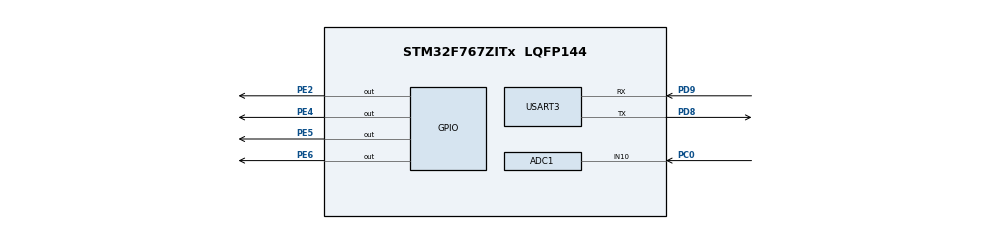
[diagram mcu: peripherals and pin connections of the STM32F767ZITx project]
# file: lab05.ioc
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ADC1.Channel-0\#ChannelRegularConversion=ADC_CHANNEL_10
ADC1.ContinuousConvMode=ENABLE
ADC1.DataAlign=ADC_DATAALIGN_RIGHT
ADC1.EOCSelection=ADC_EOC_SEQ_CONV
ADC1.NbrOfConversionFlag=1
ADC1.Rank-0\#ChannelRegularConversion=1
ADC1.SamplingTime-0\#ChannelRegularConversion=ADC_SAMPLETIME_3CYCLES
ADC1.master=1
CORTEX_M7.default_mode_Activation=1
Mcu.Family=STM32F7
Mcu.Name=STM32F767ZITx
Mcu.Package=LQFP144
NVIC.PriorityGroup=NVIC_PRIORITYGROUP_4
PC0.Signal=ADCx_IN10
PD8.Mode=Asynchronous
PD8.Signal=USART3_TX
PD9.Mode=Asynchronous
PD9.Signal=USART3_RX
PE2.Signal=GPIO_Output
PE4.Signal=GPIO_Output
PE5.Signal=GPIO_Output
PE6.Signal=GPIO_Output
ProjectManager.HeapSize=0x200
ProjectManager.StackSize=0x400
ProjectManager.TargetToolchain=STM32CubeIDE
RCC.HSE_VALUE=25000000
RCC.HSI_VALUE=16000000
RCC.LSE_VALUE=32768
RCC.USBFreq_Value=96000000
RCC.VCOOutputFreq_Value=192000000
SH.ADCx_IN10.0=ADC1_IN10,IN10
USART3.VirtualMode-Asynchronous=VM_ASYNC
board=custom

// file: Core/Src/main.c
/* USER CODE BEGIN Header */
/**
  ******************************************************************************
  * @file           : main.c
  * @brief          : Main program body
  ******************************************************************************
  * @attention
  *
  * Copyright (c) 2025 STMicroelectronics.
  * All rights reserved.
  *
  * This software is licensed under terms that can be found in the LICENSE file
  * in the root directory of this software component.
  * If no LICENSE file comes with this software, it is provided AS-IS.
  *
  ******************************************************************************
  */
/* USER CODE END Header */
#include "main.h"
#include "adc.h"
#include "usart.h"
#include "gpio.h"

/* USER CODE BEGIN Includes */
#include <stdio.h>
/* USER CODE END Includes */

/* USER CODE BEGIN PV */
volatile uint32_t adc_val = 0;
volatile uint32_t adc_avg_8 = 0;
volatile uint32_t adc_avg_16 = 0;
/* USER CODE END PV */

void SystemClock_Config(void);
static void MPU_Config(void);

int main(void)
{

  /* MPU Configuration--------------------------------------------------------*/
  MPU_Config();

  /* MCU Configuration--------------------------------------------------------*/

  /* Reset of all peripherals, Initializes the Flash interface and the Systick. */
  HAL_Init();

  /* Configure the system clock */
  SystemClock_Config();

  /* Initialize all configured peripherals */
  MX_GPIO_Init();
  MX_ADC1_Init();
  MX_USART3_UART_Init();
  /* USER CODE BEGIN 2 */
  uint32_t average_8(uint32_t x){
	static uint32_t samples[8];
	static uint32_t i = 0;
	static uint32_t total = 0;

	total += x - samples[i];
	samples[i] = x;

	i = (i==7 ? 0 : i+1);

	return total>>3;
}

 uint32_t average_16(uint32_t x){
	static uint32_t samples[16];
	static uint32_t i = 0;
	static uint32_t total = 0;

	total += x - samples[i];
	samples[i] = x;

	i = (i==15 ? 0 : i+1);

	return total>>4;
}

void displayHEX(uint32_t value)
{
    char buffer[13];
    int len = sprintf(buffer, "0x%08lX\r\n", (unsigned long)value);

    HAL_UART_Transmit(&huart3, (uint8_t*)buffer, len, 100);
}

void displayLED(uint32_t value)
{
		HAL_GPIO_WritePin(GPIOE, GPIO_PIN_2, RESET);
		HAL_GPIO_WritePin(GPIOE, GPIO_PIN_4, RESET);
		HAL_GPIO_WritePin(GPIOE, GPIO_PIN_5, RESET);
		HAL_GPIO_WritePin(GPIOE, GPIO_PIN_6, RESET);

	if(value > 100)
	{
		HAL_GPIO_WritePin(GPIOE, GPIO_PIN_2, SET);
	}
	if(value > 1000)
	{
		HAL_GPIO_WritePin(GPIOE, GPIO_PIN_4, SET);
	}
	if(value > 2000)
	{
		HAL_GPIO_WritePin(GPIOE, GPIO_PIN_5, SET);
	}
	if(value > 3000)
	{
		HAL_GPIO_WritePin(GPIOE, GPIO_PIN_6, SET);
	}
}

HAL_ADC_Start(&hadc1);
  /* USER CODE END 2 */

  /* Infinite loop */
  while (1)
  {

    /* USER CODE BEGIN 3 */
	  while(HAL_ADC_PollForConversion(&hadc1, 100) != HAL_OK){}
	  adc_val = HAL_ADC_GetValue(&hadc1);
	  adc_avg_8 = average_8(adc_val);
	  adc_avg_16 = average_16(adc_val);
	  displayHEX(adc_val);
	  displayLED(adc_val);
	  HAL_Delay(400);
  }
  /* USER CODE END 3 */
}

void SystemClock_Config(void)
{
  RCC_OscInitTypeDef RCC_OscInitStruct = {0};
  RCC_ClkInitTypeDef RCC_ClkInitStruct = {0};

  /** Configure the main internal regulator output voltage
  */
  __HAL_RCC_PWR_CLK_ENABLE();
  __HAL_PWR_VOLTAGESCALING_CONFIG(PWR_REGULATOR_VOLTAGE_SCALE3);

  /** Initializes the RCC Oscillators according to the specified parameters
  * in the RCC_OscInitTypeDef structure.
  */
  RCC_OscInitStruct.OscillatorType = RCC_OSCILLATORTYPE_HSI;
  RCC_OscInitStruct.HSIState = RCC_HSI_ON;
  RCC_OscInitStruct.HSICalibrationValue = RCC_HSICALIBRATION_DEFAULT;
  RCC_OscInitStruct.PLL.PLLState = RCC_PLL_NONE;
  if (HAL_RCC_OscConfig(&RCC_OscInitStruct) != HAL_OK)
  {
    Error_Handler();
  }

  /** Initializes the CPU, AHB and APB buses clocks
  */
  RCC_ClkInitStruct.ClockType = RCC_CLOCKTYPE_HCLK|RCC_CLOCKTYPE_SYSCLK
                              |RCC_CLOCKTYPE_PCLK1|RCC_CLOCKTYPE_PCLK2;
  RCC_ClkInitStruct.SYSCLKSource = RCC_SYSCLKSOURCE_HSI;
  RCC_ClkInitStruct.AHBCLKDivider = RCC_SYSCLK_DIV1;
  RCC_ClkInitStruct.APB1CLKDivider = RCC_HCLK_DIV1;
  RCC_ClkInitStruct.APB2CLKDivider = RCC_HCLK_DIV1;

  if (HAL_RCC_ClockConfig(&RCC_ClkInitStruct, FLASH_LATENCY_0) != HAL_OK)
  {
    Error_Handler();
  }
}

 /* MPU Configuration */

void MPU_Config(void)
{
  MPU_Region_InitTypeDef MPU_InitStruct = {0};

  /* Disables the MPU */
  HAL_MPU_Disable();

  /** Initializes and configures the Region and the memory to be protected
  */
  MPU_InitStruct.Enable = MPU_REGION_ENABLE;
  MPU_InitStruct.Number = MPU_REGION_NUMBER0;
  MPU_InitStruct.BaseAddress = 0x0;
  MPU_InitStruct.Size = MPU_REGION_SIZE_4GB;
  MPU_InitStruct.SubRegionDisable = 0x87;
  MPU_InitStruct.TypeExtField = MPU_TEX_LEVEL0;
  MPU_InitStruct.AccessPermission = MPU_REGION_NO_ACCESS;
  MPU_InitStruct.DisableExec = MPU_INSTRUCTION_ACCESS_DISABLE;
  MPU_InitStruct.IsShareable = MPU_ACCESS_SHAREABLE;
  MPU_InitStruct.IsCacheable = MPU_ACCESS_NOT_CACHEABLE;
  MPU_InitStruct.IsBufferable = MPU_ACCESS_NOT_BUFFERABLE;

  HAL_MPU_ConfigRegion(&MPU_InitStruct);
  /* Enables the MPU */
  HAL_MPU_Enable(MPU_PRIVILEGED_DEFAULT);

}

void Error_Handler(void)
{
  __disable_irq();
  while (1)
  {
  }
}
